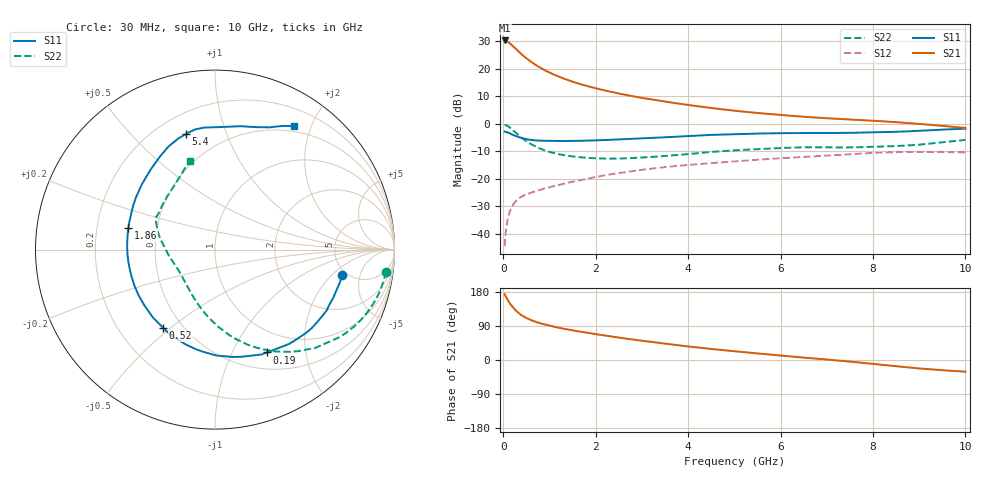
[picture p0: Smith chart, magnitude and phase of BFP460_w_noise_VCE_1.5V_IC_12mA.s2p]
! (c) 2016  Infineon Technologies AG, Munich
! Infineon Technologies  Discrete & RF Semiconductors
! BFP460
! VCE =  1.5 V,  IC =  12 mA
! Common Emitter S-Parameters:  Jan 2016
# GHz  S  MA  R  50
!  f  S11  S21  S12  S22
! GHz  MAG  ANG  MAG  ANG  MAG  ANG  MAG  ANG
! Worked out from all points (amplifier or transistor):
!   229 points, 30 MHz to 10 GHz, reference 50 ohm
!   highest |S21| = 30.3 dB at 30 MHz (marker M1)
!   |S21| within 3 dB of that: start of sweep to 270.4 MHz
!   unconditionally stable (mu >= 1): 2.2 GHz to 8.993 GHz
!   at 280 MHz: K = 0.31, MSG = 27.6 dB, |S12| = -28.0 dB
!   at 1.78 GHz: K = 0.96, MSG = 17.0 dB, |S12| = -20.0 dB
!   at 10 GHz: K = 0.99, MSG = 4.4 dB, |S12| = -10.3 dB
!   lowest NFmin = 1.03 dB at 450 MHz
!   S11 on the Smith chart (normalised r, x): 30 MHz: 4.60, -2.69; 190 MHz: 0.71, -1.38; 520 MHz: 0.39, -0.47; 1.86 GHz: 0.34, +0.11; 5.4 GHz: 0.32, +0.73; 10 GHz: 0.42, +1.75
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0.03  0.7234 -11.1  32.74 173.5  0.006 84.5  0.9604 -7.4
0.07  0.7076 -25.6  31.99 163.8  0.0136 77.7  0.9377 -17.3
0.11  0.6943 -39.0  30.47 156.0  0.0205 72.2  0.8983 -26.5
0.15  0.6686 -51.8  28.7 148.3  0.0265 67.1  0.8491 -35.0
0.19  0.6419 -63.2  26.82 141.9  0.0314 62.4  0.7943 -42.4
0.26  0.6062 -80.7  23.63 132.1  0.0384 56.6  0.7058 -53.8
0.34  0.5723 -97.1  20.38 123.3  0.0442 52.0  0.6156 -64.4
0.4  0.5528 -107.3  18.32 117.9  0.0477 49.6  0.5594 -71.1
0.52  0.5233 -123.4  15.11 109.9  0.0531 47.1  0.4733 -81.6
0.6  0.5124 -132.5  13.42 105.3  0.0562 46.2  0.4294 -87.7
0.7  0.5016 -141.5  11.76 100.7  0.0599 45.7  0.3873 -94.2
0.9  0.4921 -155.7  9.411 93.5  0.0669 45.9  0.3297 -104.8
1.22  0.4874 -171.8  7.102 84.6  0.0784 46.5  0.2793 -117.9
1.7  0.4935 170.7  5.176 74.1  0.0967 46.7  0.2458 -132.6
1.86  0.4974 165.9  4.751 71.0  0.103 46.4  0.2403 -136.9
2.6  0.5271 146.9  3.424 57.5  0.1317 43.5  0.2355 -155.4
3.4  0.5651 130.9  2.614 44.8  0.1603 38.4  0.2573 -171.8
5.1  0.6543 107.3  1.699 21.9  0.2105 27.7  0.3344 162.4
5.4  0.6638 104.3  1.605 18.5  0.2198 25.9  0.3433 159.7
6.8  0.6811 92.2  1.296 3.4  0.259 16.6  0.3744 150.9
8.4  0.7143 73.1  1.088 -15.2  0.3051 3.1  0.3925 135.0
10  0.8171 57.4  0.844 -30.8  0.304 -9.2  0.5119 106.1
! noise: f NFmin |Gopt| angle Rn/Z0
0.45  1.03  0.09  22  0.14
1.9  1.19  0.09  -179  0.12
3.5  1.2  0.36  -133  0.12
